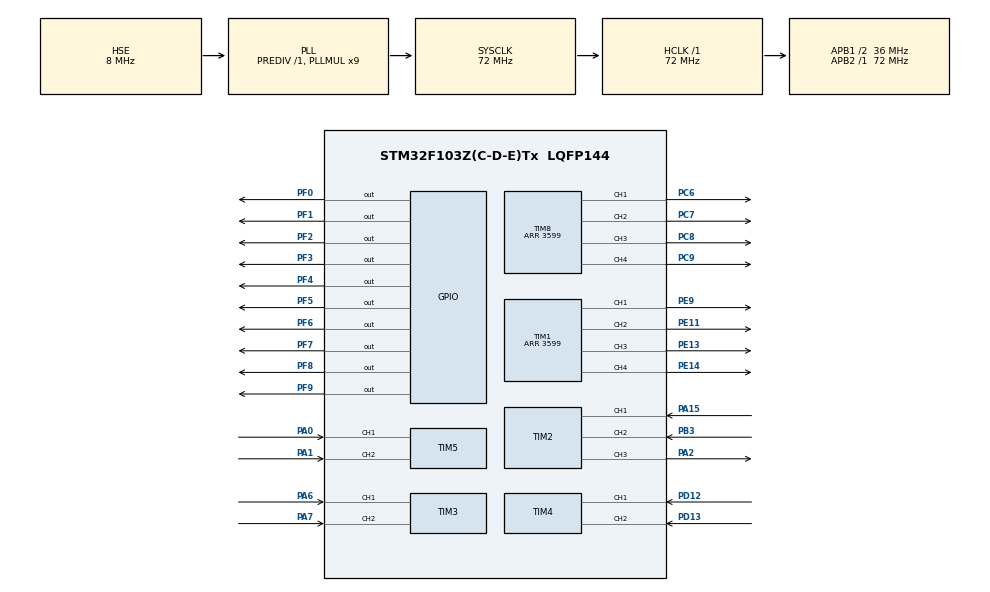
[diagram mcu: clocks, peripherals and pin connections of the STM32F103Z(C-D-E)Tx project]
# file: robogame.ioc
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Mcu.Family=STM32F1
Mcu.Name=STM32F103Z(C-D-E)Tx
Mcu.Package=LQFP144
NVIC.PriorityGroup=NVIC_PRIORITYGROUP_4
OSC_IN.Mode=HSE-External-Oscillator
OSC_IN.Signal=RCC_OSC_IN
OSC_OUT.Mode=HSE-External-Oscillator
OSC_OUT.Signal=RCC_OSC_OUT
PA0-WKUP.GPIO_PuPd=GPIO_PULLUP
PA0-WKUP.Signal=S_TIM5_CH1
PA1.GPIO_PuPd=GPIO_PULLUP
PA1.Signal=S_TIM5_CH2
PA13.Mode=Serial_Wire
PA13.Signal=SYS_JTMS-SWDIO
PA14.Mode=Serial_Wire
PA14.Signal=SYS_JTCK-SWCLK
PA15.GPIO_PuPd=GPIO_PULLUP
PA15.Signal=S_TIM2_CH1_ETR
PA2.GPIO_ModeDefaultPP=GPIO_MODE_AF_OD
PA2.GPIO_Speed=GPIO_SPEED_FREQ_HIGH
PA2.Signal=S_TIM2_CH3
PA6.GPIO_PuPd=GPIO_PULLUP
PA6.Signal=S_TIM3_CH1
PA7.GPIO_PuPd=GPIO_PULLUP
PA7.Signal=S_TIM3_CH2
PB3.GPIO_PuPd=GPIO_PULLUP
PB3.Signal=S_TIM2_CH2
PC6.Signal=S_TIM8_CH1
PC7.Signal=S_TIM8_CH2
PC8.Signal=S_TIM8_CH3
PC9.Signal=S_TIM8_CH4
PD12.GPIO_PuPd=GPIO_PULLUP
PD12.Signal=S_TIM4_CH1
PD13.GPIO_PuPd=GPIO_PULLUP
PD13.Signal=S_TIM4_CH2
PE11.Signal=S_TIM1_CH2
PE13.Signal=S_TIM1_CH3
PE14.Signal=S_TIM1_CH4
PE9.Signal=S_TIM1_CH1
PF0.PinState=GPIO_PIN_SET
PF0.Signal=GPIO_Output
PF1.PinState=GPIO_PIN_SET
PF1.Signal=GPIO_Output
PF2.PinState=GPIO_PIN_SET
PF2.Signal=GPIO_Output
PF3.PinState=GPIO_PIN_SET
PF3.Signal=GPIO_Output
PF4.PinState=GPIO_PIN_SET
PF4.Signal=GPIO_Output
PF5.PinState=GPIO_PIN_SET
PF5.Signal=GPIO_Output
PF6.PinState=GPIO_PIN_SET
PF6.Signal=GPIO_Output
PF7.PinState=GPIO_PIN_SET
PF7.Signal=GPIO_Output
PF8.GPIO_ModeDefaultOutputPP=GPIO_MODE_OUTPUT_OD
PF8.GPIO_PuPd=GPIO_NOPULL
PF8.GPIO_Speed=GPIO_SPEED_FREQ_HIGH
PF8.Signal=GPIO_Output
PF9.GPIO_ModeDefaultOutputPP=GPIO_MODE_OUTPUT_OD
PF9.GPIO_PuPd=GPIO_NOPULL
PF9.GPIO_Speed=GPIO_SPEED_FREQ_HIGH
PF9.Signal=GPIO_Output
ProjectManager.HeapSize=0x200
ProjectManager.StackSize=0x400
ProjectManager.TargetToolchain=MDK-ARM V5.32
RCC.AHBFreq_Value=72000000
RCC.APB1CLKDivider=RCC_HCLK_DIV2
RCC.APB1Freq_Value=36000000
RCC.APB1TimFreq_Value=72000000
RCC.APB2Freq_Value=72000000
RCC.APB2TimFreq_Value=72000000
RCC.HCLKFreq_Value=72000000
RCC.PLLMUL=RCC_PLL_MUL9
RCC.PLLSourceVirtual=RCC_PLLSOURCE_HSE
RCC.SYSCLKFreq_VALUE=72000000
RCC.SYSCLKSource=RCC_SYSCLKSOURCE_PLLCLK
RCC.USBFreq_Value=72000000
SH.S_TIM1_CH1.0=TIM1_CH1,PWM Generation1 CH1
SH.S_TIM1_CH2.0=TIM1_CH2,PWM Generation2 CH2
SH.S_TIM1_CH3.0=TIM1_CH3,PWM Generation3 CH3
SH.S_TIM1_CH4.0=TIM1_CH4,PWM Generation4 CH4
SH.S_TIM2_CH1_ETR.0=TIM2_CH1,Encoder_Interface
SH.S_TIM2_CH2.0=TIM2_CH2,Encoder_Interface
SH.S_TIM2_CH3.0=TIM2_CH3,PWM Generation3 CH3
SH.S_TIM3_CH1.0=TIM3_CH1,Encoder_Interface
SH.S_TIM3_CH2.0=TIM3_CH2,Encoder_Interface
SH.S_TIM4_CH1.0=TIM4_CH1,Encoder_Interface
SH.S_TIM4_CH2.0=TIM4_CH2,Encoder_Interface
SH.S_TIM5_CH1.0=TIM5_CH1,Encoder_Interface
SH.S_TIM5_CH2.0=TIM5_CH2,Encoder_Interface
SH.S_TIM8_CH1.0=TIM8_CH1,PWM Generation1 CH1
SH.S_TIM8_CH2.0=TIM8_CH2,PWM Generation2 CH2
SH.S_TIM8_CH3.0=TIM8_CH3,PWM Generation3 CH3
SH.S_TIM8_CH4.0=TIM8_CH4,PWM Generation4 CH4
TIM1.Channel-PWM\ Generation1\ CH1=TIM_CHANNEL_1
TIM1.Channel-PWM\ Generation2\ CH2=TIM_CHANNEL_2
TIM1.Channel-PWM\ Generation3\ CH3=TIM_CHANNEL_3
TIM1.Channel-PWM\ Generation4\ CH4=TIM_CHANNEL_4
TIM1.Period=3599
TIM2.Channel-PWM\ Generation3\ CH3=TIM_CHANNEL_3
TIM2.EncoderMode=TIM_ENCODERMODE_TI12
TIM3.EncoderMode=TIM_ENCODERMODE_TI12
TIM4.EncoderMode=TIM_ENCODERMODE_TI12
TIM5.EncoderMode=TIM_ENCODERMODE_TI12
TIM8.Channel-PWM\ Generation1\ CH1=TIM_CHANNEL_1
TIM8.Channel-PWM\ Generation2\ CH2=TIM_CHANNEL_2
TIM8.Channel-PWM\ Generation3\ CH3=TIM_CHANNEL_3
TIM8.Channel-PWM\ Generation4\ CH4=TIM_CHANNEL_4
TIM8.Period=3599
board=custom

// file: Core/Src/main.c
/* USER CODE BEGIN Header */
/**
  ******************************************************************************
  * @file           : main.c
  * @brief          : Main program body
  ******************************************************************************
  * @attention
  *
  * Copyright (c) 2025 STMicroelectronics.
  * All rights reserved.
  *
  * This software is licensed under terms that can be found in the LICENSE file
  * in the root directory of this software component.
  * If no LICENSE file comes with this software, it is provided AS-IS.
  *
  ******************************************************************************
  */
/* USER CODE END Header */
#include "main.h"
#include "tim.h"
#include "gpio.h"

/* USER CODE BEGIN Includes */
#include "motor.h"
#include "pid.h"
#include "stepmotor.h"

/* USER CODE END Includes */

/* USER CODE BEGIN PTD */
PID_HandleTypeDef motorPID;

/* USER CODE END PTD */

/* USER CODE BEGIN PV */

int counter;

/* USER CODE END PV */

void SystemClock_Config(void);

int main(void)
{

  /* MCU Configuration--------------------------------------------------------*/

  /* Reset of all peripherals, Initializes the Flash interface and the Systick. */
  HAL_Init();

  /* USER CODE BEGIN Init */
  StepMotor_Init();      // 初始化步进电机GPIO
  MotorControl_Init();

  /* USER CODE END Init */

  /* Configure the system clock */
  SystemClock_Config();

  /* Initialize all configured peripherals */
  MX_GPIO_Init();
  MX_TIM5_Init();
  MX_TIM1_Init();
  MX_TIM2_Init();
  MX_TIM3_Init();
  MX_TIM4_Init();
  MX_TIM8_Init();
  /* USER CODE BEGIN 2 */

  HAL_TIM_PWM_Start(&htim1, TIM_CHANNEL_1);
  HAL_TIM_PWM_Start(&htim1, TIM_CHANNEL_2);
  HAL_TIM_PWM_Start(&htim1, TIM_CHANNEL_3);
  HAL_TIM_PWM_Start(&htim1, TIM_CHANNEL_4);
  HAL_TIM_PWM_Start(&htim8, TIM_CHANNEL_1);
  HAL_TIM_PWM_Start(&htim8, TIM_CHANNEL_2);
  HAL_TIM_PWM_Start(&htim8, TIM_CHANNEL_3);
  HAL_TIM_PWM_Start(&htim8, TIM_CHANNEL_4);

	HAL_TIM_Encoder_Start(&htim2, TIM_CHANNEL_1 | TIM_CHANNEL_2);
  HAL_TIM_Encoder_Start(&htim3, TIM_CHANNEL_1 | TIM_CHANNEL_2);
  HAL_TIM_Encoder_Start(&htim4, TIM_CHANNEL_1 | TIM_CHANNEL_2);
  HAL_TIM_Encoder_Start(&htim5, TIM_CHANNEL_1 | TIM_CHANNEL_2);

  HAL_GPIO_WritePin(MOTOR_DIR_GPIO_PORT, MOTOR1_DIR1_PIN, GPIO_PIN_SET);
  HAL_GPIO_WritePin(MOTOR_DIR_GPIO_PORT, MOTOR1_DIR2_PIN, GPIO_PIN_SET);
  HAL_GPIO_WritePin(MOTOR_DIR_GPIO_PORT, MOTOR2_DIR1_PIN, GPIO_PIN_SET);
  HAL_GPIO_WritePin(MOTOR_DIR_GPIO_PORT, MOTOR2_DIR2_PIN, GPIO_PIN_SET);
  HAL_GPIO_WritePin(MOTOR_DIR_GPIO_PORT, MOTOR3_DIR1_PIN, GPIO_PIN_SET);
  HAL_GPIO_WritePin(MOTOR_DIR_GPIO_PORT, MOTOR3_DIR2_PIN, GPIO_PIN_SET);
  HAL_GPIO_WritePin(MOTOR_DIR_GPIO_PORT, MOTOR4_DIR1_PIN, GPIO_PIN_SET);
  HAL_GPIO_WritePin(MOTOR_DIR_GPIO_PORT, MOTOR4_DIR2_PIN, GPIO_PIN_SET);

  /*
  MotorControl_SetTargetSpeed(0,500.0f);
  MotorControl_SetTargetSpeed(1,500.0f);
  MotorControl_SetTargetSpeed(2,500.0f);
  MotorControl_SetTargetSpeed(3,500.0f);
  */

  // 设置方向
  StepMotor_SetDir(STEPMOTOR_DIR_CW);
  // 需要的脉冲数 = 20000 (对应 50mm)
  uint32_t steps = 20000;
  // 发出脉冲
  StepMotor_Step(steps, 500);
  // 第二个参数是延时，单位 us，500us ≈ 2kHz，速度可调

  /* USER CODE END 2 */

  /* Infinite loop */
  /* USER CODE BEGIN WHILE */
  while (1)
  {
    /*
    // 前进 0.2 m/s
    MotorControl_Forward(0.2f);
    for(int i=0;i<3000;i++)
    {
      MotorControl_Update();
      HAL_Delay(1);
    }

    // 右移 0.1 m/s
    MotorControl_Right(0.1f);
    for(int i=0;i<3000;i++)
    {
      MotorControl_Update();
      HAL_Delay(1);
    }

    // 顺时针旋转 1 rad/s
    MotorControl_RotateCW(1.0f);
    for(int i=0;i<3000;i++)
    {
      MotorControl_Update();
      HAL_Delay(1);
    }

    // 停止
    MotorControl_Stop();
    for(int i=0;i<2000;i++)
    {
      MotorControl_Update();
      HAL_Delay(1);
    }
    */

    /* USER CODE END WHILE */

  }
}

void SystemClock_Config(void)
{
  RCC_OscInitTypeDef RCC_OscInitStruct = {0};
  RCC_ClkInitTypeDef RCC_ClkInitStruct = {0};

  /** Initializes the RCC Oscillators according to the specified parameters
  * in the RCC_OscInitTypeDef structure.
  */
  RCC_OscInitStruct.OscillatorType = RCC_OSCILLATORTYPE_HSE;
  RCC_OscInitStruct.HSEState = RCC_HSE_ON;
  RCC_OscInitStruct.HSEPredivValue = RCC_HSE_PREDIV_DIV1;
  RCC_OscInitStruct.HSIState = RCC_HSI_ON;
  RCC_OscInitStruct.PLL.PLLState = RCC_PLL_ON;
  RCC_OscInitStruct.PLL.PLLSource = RCC_PLLSOURCE_HSE;
  RCC_OscInitStruct.PLL.PLLMUL = RCC_PLL_MUL9;
  if (HAL_RCC_OscConfig(&RCC_OscInitStruct) != HAL_OK)
  {
    Error_Handler();
  }

  /** Initializes the CPU, AHB and APB buses clocks
  */
  RCC_ClkInitStruct.ClockType = RCC_CLOCKTYPE_HCLK|RCC_CLOCKTYPE_SYSCLK
                              |RCC_CLOCKTYPE_PCLK1|RCC_CLOCKTYPE_PCLK2;
  RCC_ClkInitStruct.SYSCLKSource = RCC_SYSCLKSOURCE_PLLCLK;
  RCC_ClkInitStruct.AHBCLKDivider = RCC_SYSCLK_DIV1;
  RCC_ClkInitStruct.APB1CLKDivider = RCC_HCLK_DIV2;
  RCC_ClkInitStruct.APB2CLKDivider = RCC_HCLK_DIV1;

  if (HAL_RCC_ClockConfig(&RCC_ClkInitStruct, FLASH_LATENCY_2) != HAL_OK)
  {
    Error_Handler();
  }
}

void Error_Handler(void)
{
  __disable_irq();
  while (1)
  {
  }
}
